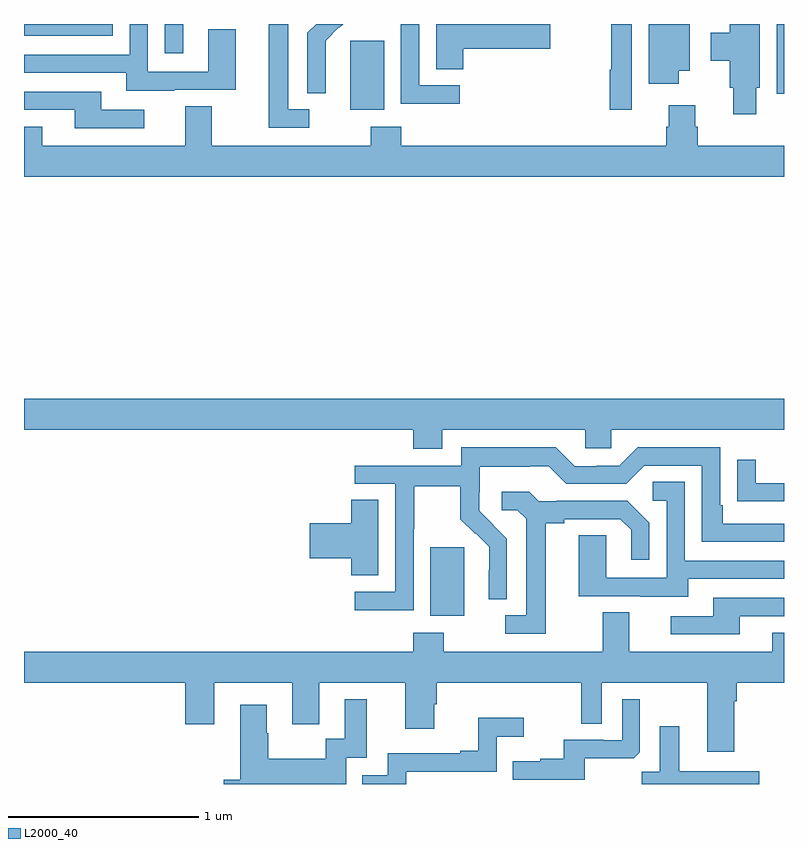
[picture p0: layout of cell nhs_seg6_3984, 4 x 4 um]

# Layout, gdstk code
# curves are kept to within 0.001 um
import gdstk
lib = gdstk.Library(unit=1e-6, precision=1e-09)
def R(c, l, rs):  # rectangles x0, y0, x1, y1
    for r in rs: c.add(gdstk.rectangle(r[:2], r[2:], *l))
def P(c, l, *ps):  # polygons
    for p in ps: c.add(gdstk.Polygon(p, *l))
L2000_40 = (2000, 40)

nhs_seg6_3984 = lib.new_cell('nhs_seg6_3984')
R(nhs_seg6_3984, L2000_40, [(349.139,918.386,349.318,918.747), (348.716,921.05,348.895,921.411), (350.961,921.132,351,921.5), (347.742,921.345,347.839,921.5), (347,921.438,347.466,921.5)])
P(nhs_seg6_3984, L2000_40, [(347.791,921.153),(348.115,921.153),(348.115,921.473),(347.97,921.473),(347.97,921.249),(347.652,921.249),(347.652,921.5),(347.556,921.5),(347.556,921.339),(347,921.339),(347,921.243),(347.537,921.243),(347.537,921.149),(347.791,921.149)],
  [(350.446,921.254),(350.503,921.254),(350.503,921.5),(350.288,921.5),(350.288,921.186),(350.446,921.186)],
  [(348.588,921.29),(348.587,921.29),(348.587,921.413),(348.657,921.483),(348.66,921.48),(348.68,921.5),(348.538,921.5),(348.492,921.454),(348.492,921.136),(348.588,921.136)],
  [(349.294,921.177),(349.08,921.177),(349.08,921.5),(348.984,921.5),(348.984,921.079),(349.294,921.079)],
  [(350.199,921.5),(350.091,921.5),(350.091,921.26),(350.083,921.26),(350.083,921.048),(350.199,921.048)],
  [(348.502,921.051),(348.391,921.051),(348.391,921.5),(348.287,921.5),(348.287,920.955),(348.502,920.955)],
  [(349.313,921.371),(349.771,921.371),(349.771,921.5),(349.169,921.5),(349.169,921.262),(349.313,921.262)],
  [(350.854,921.165),(350.872,921.165),(350.872,921.5),(350.714,921.5),(350.714,921.454),(350.615,921.454),(350.615,921.307),(350.714,921.307),(350.714,921.165),(350.732,921.165),(350.732,921.024),(350.854,921.024)],
  [(347.632,921.048),(347.407,921.048),(347.407,921.144),(347,921.144),(347,921.048),(347.267,921.048),(347.267,920.952),(347.632,920.952)],
  [(351,920.86),(350.546,920.86),(350.546,920.958),(350.533,920.958),(350.533,921.073),(350.393,921.073),(350.393,920.958),(350.381,920.958),(350.381,920.86),(348.986,920.86),(348.986,920.959),(348.826,920.959),(348.826,920.86),(347.989,920.86),(347.989,921.068),(347.849,921.068),(347.849,920.86),(347.095,920.86),(347.095,920.959),(347,920.959),(347,920.696),(351,920.696)],
  [(349.201,919.364),(349.953,919.364),(349.953,919.266),(350.091,919.266),(350.091,919.364),(351,919.364),(351,919.528),(347,919.528),(347,919.364),(349.049,919.364),(349.049,919.265),(349.201,919.265)],
  [(349.05,918.844),(349.053,918.844),(349.053,919.068),(349.297,919.068),(349.297,918.893),(349.374,918.816),(349.377,918.819),(349.448,918.749),(349.448,918.626),(349.446,918.626),(349.446,918.472),(349.542,918.472),(349.542,918.79),(349.396,918.938),(349.396,919.035),(349.398,919.035),(349.398,919.169),(349.661,919.169),(349.661,919.173),(349.761,919.173),(349.854,919.08),(350.169,919.08),(350.265,919.176),(350.568,919.176),(350.568,918.774),(351,918.774),(351,918.87),(350.677,918.87),(350.677,918.967),(350.664,918.967),(350.664,919.272),(350.229,919.272),(350.133,919.176),(350.015,919.176),(350.015,919.173),(349.899,919.173),(349.799,919.273),(349.302,919.273),(349.302,919.176),(348.741,919.176),(348.741,919.08),(348.954,919.08),(348.954,918.513),(348.741,918.513),(348.741,918.415),(349.05,918.415)],
  [(351,919.083),(350.851,919.083),(350.851,919.207),(350.755,919.207),(350.755,918.988),(350.857,918.988),(350.857,918.987),(351,918.987)],
  [(350.497,918.579),(351,918.579),(351,918.675),(350.478,918.675),(350.478,919.091),(350.31,919.091),(350.31,918.99),(350.382,918.99),(350.382,918.585),(350.064,918.585),(350.064,918.809),(349.919,918.809),(349.919,918.489),(350.243,918.489),(350.243,918.485),(350.497,918.485)],
  [(349.747,918.872),(349.843,918.872),(349.843,918.894),(350.138,918.894),(350.195,918.837),(350.195,918.681),(350.292,918.681),(350.292,918.874),(350.176,918.99),(349.804,918.99),(349.804,918.987),(349.71,918.987),(349.658,919.039),(349.515,919.039),(349.515,918.942),(349.596,918.942),(349.643,918.895),(349.643,918.387),(349.533,918.387),(349.533,918.291),(349.747,918.291)],
  [(348.865,918.995),(348.722,918.995),(348.722,918.872),(348.504,918.872),(348.504,918.689),(348.722,918.689),(348.722,918.598),(348.865,918.598)],
  [(350.767,918.384),(351,918.384),(351,918.48),(350.627,918.48),(350.627,918.384),(350.403,918.384),(350.403,918.288),(350.767,918.288)],
  [(349.049,918.196),(347,918.196),(347,918.032),(347.849,918.032),(347.849,917.814),(348.001,917.814),(348.001,918.032),(348.413,918.032),(348.413,917.814),(348.553,917.814),(348.553,918.032),(349.007,918.032),(349.007,917.79),(349.159,917.79),(349.159,917.919),(349.172,917.919),(349.172,918.032),(349.932,918.032),(349.932,917.818),(350.04,917.818),(350.04,918.032),(350.597,918.032),(350.597,917.67),(350.737,917.67),(350.737,917.936),(350.75,917.936),(350.75,918.032),(351,918.032),(351,918.295),(350.939,918.295),(350.939,918.196),(350.185,918.196),(350.185,918.404),(350.045,918.404),(350.045,918.196),(349.209,918.196),(349.209,918.295),(349.049,918.295)],
  [(348.696,917.637),(348.805,917.637),(348.805,917.947),(348.689,917.947),(348.689,917.738),(348.588,917.738),(348.588,917.632),(348.285,917.632),(348.285,917.766),(348.277,917.766),(348.277,917.917),(348.137,917.917),(348.137,917.522),(348.05,917.522),(348.05,917.5),(348.696,917.5)],
  [(349.951,917.636),(350.209,917.636),(350.241,917.667),(350.241,917.947),(350.148,917.947),(350.148,917.73),(350.048,917.73),(350.048,917.733),(349.841,917.733),(349.841,917.632),(349.717,917.632),(349.717,917.62),(349.573,917.62),(349.573,917.523),(349.951,917.523)],
  [(349.011,917.565),(349.488,917.565),(349.488,917.75),(349.63,917.75),(349.63,917.849),(349.39,917.849),(349.39,917.674),(349.295,917.674),(349.295,917.661),(348.915,917.661),(348.915,917.547),(348.781,917.547),(348.781,917.5),(349.011,917.5)],
  [(350.869,917.566),(350.449,917.566),(350.449,917.803),(350.345,917.803),(350.345,917.564),(350.25,917.564),(350.25,917.5),(350.869,917.5)])

lib.write_gds('nhs_seg6_3984.gds')
